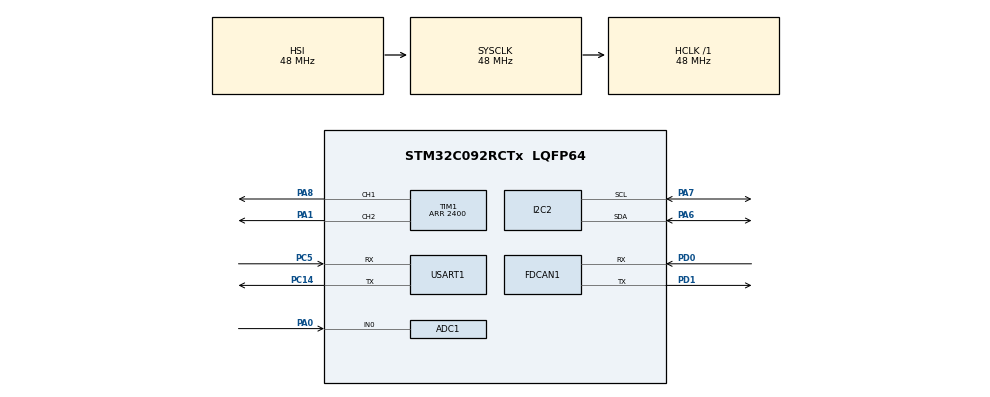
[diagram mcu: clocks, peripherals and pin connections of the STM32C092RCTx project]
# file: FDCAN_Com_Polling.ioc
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ADC1.NbrOfConversionFlag=0
ADC1.SelectedChannel=ADC_CHANNEL_0
ADC1.master=1
FDCAN1.AutoRetransmission=ENABLE
FDCAN1.CalculateBaudRateData=1000000
FDCAN1.CalculateBaudRateNominal=1000000
FDCAN1.CalculateTimeBitNominal=1000
FDCAN1.CalculateTimeQuantumNominal=20.833333333333332
FDCAN1.DataSyncJumpWidth=6
FDCAN1.DataTimeSeg1=17
FDCAN1.DataTimeSeg2=6
FDCAN1.FrameFormat=FDCAN_FRAME_FD_BRS
FDCAN1.NominalPrescaler=1
FDCAN1.NominalSyncJumpWidth=12
FDCAN1.NominalTimeSeg1=35
FDCAN1.NominalTimeSeg2=12
FDCAN1.StdFiltersNbr=1
FDCAN1.TransmitPause=ENABLE
I2C2.Timing=0x10805D88
Mcu.Family=STM32C0
Mcu.Name=STM32C092RCTx
Mcu.Package=LQFP64
NUCLEO-C092RC.BUTTON=2
NUCLEO-C092RC.LD1=true
NUCLEO-C092RC.LD2=true
NUCLEO-C092RC.VCP=true
NVIC.TIM2_IRQn=true\:0\:0\:false\:false\:true\:true\:true\:true
PA0.Mode=IN0
PA0.Signal=ADC1_IN0
PA1.Signal=S_TIM1_CH2
PA6.Mode=I2C
PA6.Signal=I2C2_SDA
PA7.Mode=I2C
PA7.Signal=I2C2_SCL
PA8.Signal=S_TIM1_CH1
PC14-OSCX_IN(PC14).Mode=Asynchronous
PC14-OSCX_IN(PC14).Signal=USART1_TX
PC5.Mode=Asynchronous
PC5.Signal=USART1_RX
PD0.Mode=FDCAN_Activate
PD0.Signal=FDCAN1_RX
PD1.Mode=FDCAN_Activate
PD1.Signal=FDCAN1_TX
ProjectManager.HeapSize=0x200
ProjectManager.StackSize=0x400
ProjectManager.TargetToolchain=STM32CubeIDE
RCC.ADCFreq_Value=48000000
RCC.AHBFreq_Value=48000000
RCC.CortexFreq_Value=48000000
RCC.EXTERNAL_CLOCK_VALUE=12288000
RCC.HCLKFreq_Value=48000000
RCC.HSE_VALUE=8000000
RCC.HSISYSCLKDivider=RCC_HSI_DIV1
RCC.HSI_VALUE=48000000
RCC.LSE_VALUE=32768
RCC.SYSCLKFreq_VALUE=48000000
SH.S_TIM1_CH1.0=TIM1_CH1,PWM Generation1 CH1
SH.S_TIM1_CH2.0=TIM1_CH2,PWM Generation2 CH2
TIM1.Channel-PWM\ Generation1\ CH1=TIM_CHANNEL_1
TIM1.Channel-PWM\ Generation2\ CH2=TIM_CHANNEL_2
TIM1.Period=2400
TIM2.Period=48000
USART1.VirtualMode-Asynchronous=VM_ASYNC
VP_NUCLEO-C092RC_VS_BSP_COMMON.Mode=COMMON
VP_TIM2_VS_ClockSourceINT.Mode=Internal
board=NUCLEO-C092RC

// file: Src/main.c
/* USER CODE BEGIN Header */
/**
  ******************************************************************************
  * @file           : main.c
  * @brief          : Main program body
  ******************************************************************************
  * @attention
  *
  * Copyright (c) 2026 STMicroelectronics.
  * All rights reserved.
  *
  * This software is licensed under terms that can be found in the LICENSE file
  * in the root directory of this software component.
  * If no LICENSE file comes with this software, it is provided AS-IS.
  *
  ******************************************************************************
  */
/* USER CODE END Header */
#include "main.h"

/* USER CODE BEGIN Includes */

#include <stdio.h>
/* USER CODE END Includes */

COM_InitTypeDef BspCOMInit;
ADC_HandleTypeDef hadc1;

FDCAN_HandleTypeDef hfdcan1;

I2C_HandleTypeDef hi2c2;

TIM_HandleTypeDef htim1;
TIM_HandleTypeDef htim2;

UART_HandleTypeDef huart1;

/* USER CODE BEGIN PV */
volatile int adc_value = 0;
volatile float current_ma = 0;
volatile int counter = 0;
volatile int dir = 0;
volatile float i_err = 0;

uint8_t rxData[8];
FDCAN_RxHeaderTypeDef rxHeader;
FDCAN_TxHeaderTypeDef txHeader;

const uint8_t txData[] = {0x10,0x32,0x54,0x76,0x98,0x00,0x11,0x22};

/* USER CODE END PV */

void SystemClock_Config(void);
static void MX_GPIO_Init(void);
static void MX_FDCAN1_Init(void);
static void MX_ADC1_Init(void);
static void MX_I2C2_Init(void);
static void MX_TIM1_Init(void);
static void MX_TIM2_Init(void);
static void MX_USART1_UART_Init(void);
/* USER CODE BEGIN PFP */
uint32_t read_adc(void);
void writeINA219(int reg, int value);
int16_t readINA219(uint8_t reg);
float read_ina219(void);
void init_ina219(void);

/* USER CODE END PFP */

/* USER CODE BEGIN 0 */
//int __io_putchar(int ch)
//{
//	HAL_UART_Transmit(&hcom_uart[COM1], (uint8_t *)&ch, 1, HAL_MAX_DELAY);
//
//    //HAL_UART_Transmit(&huart2, (uint8_t *)&ch, 1, HAL_MAX_DELAY);
//    return ch;
//}

uint32_t read_adc(void)
{
    HAL_ADC_Start(&hadc1);
    HAL_ADC_PollForConversion(&hadc1, 10);
    uint32_t val = HAL_ADC_GetValue(&hadc1);
    HAL_ADC_Stop(&hadc1);
    return val;
}

void writeINA219(int reg, int value)
{
    uint8_t data[3];
    data[0] = reg;
    data[1] = (value >> 8) & 0xFF;
    data[2] = value & 0xFF;
    HAL_I2C_Master_Transmit(&hi2c2, 0x40 << 1, data, 3, 10);
}

int16_t readINA219(uint8_t reg)
{
    uint8_t data[2];
    HAL_I2C_Master_Transmit(&hi2c2, 0x40 << 1, &reg, 1, 10);
    HAL_I2C_Master_Receive(&hi2c2, 0x40 << 1, data, 2, 10);
    return (data[0] << 8) | data[1];
}

float read_ina219(void)
{
    int16_t raw = readINA219(0x04);
    return raw * 0.1f;   // adjust scaling if needed
}

void init_ina219(void)
{
    writeINA219(0x05, 4096);   // calibration
}

/* USER CODE END 0 */

int main(void)
{

  /* MCU Configuration--------------------------------------------------------*/

  /* Reset of all peripherals, Initializes the Flash interface and the Systick. */
  HAL_Init();

  /* Configure the system clock */
  SystemClock_Config();

  /* Initialize all configured peripherals */
  MX_GPIO_Init();
  MX_FDCAN1_Init();
  MX_ADC1_Init();
  MX_I2C2_Init();
  MX_TIM1_Init();
  MX_TIM2_Init();
  MX_USART1_UART_Init();
  /* USER CODE BEGIN 2 */
//  HAL_TIM_Base_Start_IT(&htim2);
//  HAL_TIM_PWM_Start(&htim1, TIM_CHANNEL_1);
//  HAL_TIM_PWM_Start(&htim1, TIM_CHANNEL_2);
//
//  init_ina219();
//
  /* USER CODE END 2 */

  /* Initialize leds */
  BSP_LED_Init(LED_GREEN);
  BSP_LED_Init(LED_BLUE);

  /* Initialize User push-button without interrupt mode. */
  BSP_PB_Init(BUTTON_USER, BUTTON_MODE_GPIO);

  /* Initialize COM1 port (115200, 8 bits (7-bit data + 1 stop bit), no parity */
  BspCOMInit.BaudRate   = 115200;
  BspCOMInit.WordLength = COM_WORDLENGTH_8B;
  BspCOMInit.StopBits   = COM_STOPBITS_1;
  BspCOMInit.Parity     = COM_PARITY_NONE;
  BspCOMInit.HwFlowCtl  = COM_HWCONTROL_NONE;
  if (BSP_COM_Init(COM1, &BspCOMInit) != BSP_ERROR_NONE)
  {
    Error_Handler();
  }

  /* Infinite loop */
  /* USER CODE BEGIN WHILE */
  uint8_t c;
  while (1)
  {
	  if (HAL_UART_Receive(&hcom_uart[COM1], &c, 1, 10) == HAL_OK)
	      {
	          // handle commands here
		  switch(c)
		          {
		              case 'a':   // read ADC
		                  adc_value = read_adc();
		                  printf("ADC: %u\r\n", adc_value);
		                  break;

		              case 'i':   // read INA219 current
		                  current_ma = read_ina219();
		                  printf("INA219: %d mA\r\n", (int)current_ma);
		                  break;

		              case 'p':   // increase PWM
		                  __HAL_TIM_SET_COMPARE(&htim1, TIM_CHANNEL_1,
		                      __HAL_TIM_GET_COMPARE(&htim1, TIM_CHANNEL_1) + 50);
		                  printf("PWM1 increased\r\n");
		                  break;

		              case 'o':   // decrease PWM
		                  __HAL_TIM_SET_COMPARE(&htim1, TIM_CHANNEL_1,
		                      __HAL_TIM_GET_COMPARE(&htim1, TIM_CHANNEL_1) - 50);
		                  printf("PWM1 decreased\r\n");
		                  break;

		              case 'c':   // CAN transmit test
		                  txHeader.Identifier = 0x123;
		                  txHeader.IdType = FDCAN_STANDARD_ID;
		                  txHeader.TxFrameType = FDCAN_DATA_FRAME;
		                  txHeader.DataLength = FDCAN_DLC_BYTES_8;
		                  HAL_FDCAN_AddMessageToTxFifoQ(&hfdcan1, &txHeader, (uint8_t*)txData);
		                  printf("CAN TX\r\n");
		                  break;

		              default:
		                  printf("Unknown cmd: %c\r\n", c);
		                  break;
		          }
	      }
    /* USER CODE END WHILE */

  }
}

void SystemClock_Config(void)
{
  RCC_OscInitTypeDef RCC_OscInitStruct = {0};
  RCC_ClkInitTypeDef RCC_ClkInitStruct = {0};

  __HAL_FLASH_SET_LATENCY(FLASH_LATENCY_1);

  /** Initializes the RCC Oscillators according to the specified parameters
  * in the RCC_OscInitTypeDef structure.
  */
  RCC_OscInitStruct.OscillatorType = RCC_OSCILLATORTYPE_HSI;
  RCC_OscInitStruct.HSIState = RCC_HSI_ON;
  RCC_OscInitStruct.HSIDiv = RCC_HSI_DIV1;
  RCC_OscInitStruct.HSICalibrationValue = RCC_HSICALIBRATION_DEFAULT;
  if (HAL_RCC_OscConfig(&RCC_OscInitStruct) != HAL_OK)
  {
    Error_Handler();
  }

  /** Initializes the CPU, AHB and APB buses clocks
  */
  RCC_ClkInitStruct.ClockType = RCC_CLOCKTYPE_HCLK|RCC_CLOCKTYPE_SYSCLK
                              |RCC_CLOCKTYPE_PCLK1;
  RCC_ClkInitStruct.SYSCLKSource = RCC_SYSCLKSOURCE_HSI;
  RCC_ClkInitStruct.SYSCLKDivider = RCC_SYSCLK_DIV1;
  RCC_ClkInitStruct.AHBCLKDivider = RCC_HCLK_DIV1;
  RCC_ClkInitStruct.APB1CLKDivider = RCC_APB1_DIV1;

  if (HAL_RCC_ClockConfig(&RCC_ClkInitStruct, FLASH_LATENCY_1) != HAL_OK)
  {
    Error_Handler();
  }
}

static void MX_ADC1_Init(void)
{

  ADC_ChannelConfTypeDef sConfig = {0};

  /** Configure the global features of the ADC (Clock, Resolution, Data Alignment and number of conversion)
  */
  hadc1.Instance = ADC1;
  hadc1.Init.ClockPrescaler = ADC_CLOCK_SYNC_PCLK_DIV2;
  hadc1.Init.Resolution = ADC_RESOLUTION_12B;
  hadc1.Init.DataAlign = ADC_DATAALIGN_RIGHT;
  hadc1.Init.ScanConvMode = ADC_SCAN_SEQ_FIXED;
  hadc1.Init.EOCSelection = ADC_EOC_SINGLE_CONV;
  hadc1.Init.LowPowerAutoWait = DISABLE;
  hadc1.Init.LowPowerAutoPowerOff = DISABLE;
  hadc1.Init.ContinuousConvMode = DISABLE;
  hadc1.Init.NbrOfConversion = 1;
  hadc1.Init.DiscontinuousConvMode = DISABLE;
  hadc1.Init.ExternalTrigConv = ADC_SOFTWARE_START;
  hadc1.Init.ExternalTrigConvEdge = ADC_EXTERNALTRIGCONVEDGE_NONE;
  hadc1.Init.DMAContinuousRequests = DISABLE;
  hadc1.Init.Overrun = ADC_OVR_DATA_PRESERVED;
  hadc1.Init.SamplingTimeCommon1 = ADC_SAMPLETIME_1CYCLE_5;
  hadc1.Init.OversamplingMode = DISABLE;
  hadc1.Init.TriggerFrequencyMode = ADC_TRIGGER_FREQ_HIGH;
  if (HAL_ADC_Init(&hadc1) != HAL_OK)
  {
    Error_Handler();
  }

  /** Configure Regular Channel
  */
  sConfig.Channel = ADC_CHANNEL_0;
  sConfig.Rank = ADC_RANK_CHANNEL_NUMBER;
  if (HAL_ADC_ConfigChannel(&hadc1, &sConfig) != HAL_OK)
  {
    Error_Handler();
  }

}

static void MX_FDCAN1_Init(void)
{

  hfdcan1.Instance = FDCAN1;
  hfdcan1.Init.ClockDivider = FDCAN_CLOCK_DIV1;
  hfdcan1.Init.FrameFormat = FDCAN_FRAME_FD_BRS;
  hfdcan1.Init.Mode = FDCAN_MODE_NORMAL;
  hfdcan1.Init.AutoRetransmission = ENABLE;
  hfdcan1.Init.TransmitPause = ENABLE;
  hfdcan1.Init.ProtocolException = DISABLE;
  hfdcan1.Init.NominalPrescaler = 1;
  hfdcan1.Init.NominalSyncJumpWidth = 12;
  hfdcan1.Init.NominalTimeSeg1 = 35;
  hfdcan1.Init.NominalTimeSeg2 = 12;
  hfdcan1.Init.DataPrescaler = 1;
  hfdcan1.Init.DataSyncJumpWidth = 6;
  hfdcan1.Init.DataTimeSeg1 = 17;
  hfdcan1.Init.DataTimeSeg2 = 6;
  hfdcan1.Init.StdFiltersNbr = 1;
  hfdcan1.Init.ExtFiltersNbr = 0;
  hfdcan1.Init.TxFifoQueueMode = FDCAN_TX_FIFO_OPERATION;
  if (HAL_FDCAN_Init(&hfdcan1) != HAL_OK)
  {
    Error_Handler();
  }

}

static void MX_I2C2_Init(void)
{

  hi2c2.Instance = I2C2;
  hi2c2.Init.Timing = 0x10805D88;
  hi2c2.Init.OwnAddress1 = 0;
  hi2c2.Init.AddressingMode = I2C_ADDRESSINGMODE_7BIT;
  hi2c2.Init.DualAddressMode = I2C_DUALADDRESS_DISABLE;
  hi2c2.Init.OwnAddress2 = 0;
  hi2c2.Init.OwnAddress2Masks = I2C_OA2_NOMASK;
  hi2c2.Init.GeneralCallMode = I2C_GENERALCALL_DISABLE;
  hi2c2.Init.NoStretchMode = I2C_NOSTRETCH_DISABLE;
  if (HAL_I2C_Init(&hi2c2) != HAL_OK)
  {
    Error_Handler();
  }

  /** Configure Analogue filter
  */
  if (HAL_I2CEx_ConfigAnalogFilter(&hi2c2, I2C_ANALOGFILTER_ENABLE) != HAL_OK)
  {
    Error_Handler();
  }

  /** Configure Digital filter
  */
  if (HAL_I2CEx_ConfigDigitalFilter(&hi2c2, 0) != HAL_OK)
  {
    Error_Handler();
  }

}

static void MX_TIM1_Init(void)
{

  TIM_MasterConfigTypeDef sMasterConfig = {0};
  TIM_OC_InitTypeDef sConfigOC = {0};
  TIM_BreakDeadTimeConfigTypeDef sBreakDeadTimeConfig = {0};

  htim1.Instance = TIM1;
  htim1.Init.Prescaler = 0;
  htim1.Init.CounterMode = TIM_COUNTERMODE_UP;
  htim1.Init.Period = 2400;
  htim1.Init.ClockDivision = TIM_CLOCKDIVISION_DIV1;
  htim1.Init.RepetitionCounter = 0;
  htim1.Init.AutoReloadPreload = TIM_AUTORELOAD_PRELOAD_DISABLE;
  if (HAL_TIM_PWM_Init(&htim1) != HAL_OK)
  {
    Error_Handler();
  }
  sMasterConfig.MasterOutputTrigger = TIM_TRGO_RESET;
  sMasterConfig.MasterOutputTrigger2 = TIM_TRGO2_RESET;
  sMasterConfig.MasterSlaveMode = TIM_MASTERSLAVEMODE_DISABLE;
  if (HAL_TIMEx_MasterConfigSynchronization(&htim1, &sMasterConfig) != HAL_OK)
  {
    Error_Handler();
  }
  sConfigOC.OCMode = TIM_OCMODE_PWM1;
  sConfigOC.Pulse = 0;
  sConfigOC.OCPolarity = TIM_OCPOLARITY_HIGH;
  sConfigOC.OCNPolarity = TIM_OCNPOLARITY_HIGH;
  sConfigOC.OCFastMode = TIM_OCFAST_DISABLE;
  sConfigOC.OCIdleState = TIM_OCIDLESTATE_RESET;
  sConfigOC.OCNIdleState = TIM_OCNIDLESTATE_RESET;
  if (HAL_TIM_PWM_ConfigChannel(&htim1, &sConfigOC, TIM_CHANNEL_1) != HAL_OK)
  {
    Error_Handler();
  }
  if (HAL_TIM_PWM_ConfigChannel(&htim1, &sConfigOC, TIM_CHANNEL_2) != HAL_OK)
  {
    Error_Handler();
  }
  sBreakDeadTimeConfig.OffStateRunMode = TIM_OSSR_DISABLE;
  sBreakDeadTimeConfig.OffStateIDLEMode = TIM_OSSI_DISABLE;
  sBreakDeadTimeConfig.LockLevel = TIM_LOCKLEVEL_OFF;
  sBreakDeadTimeConfig.DeadTime = 0;
  sBreakDeadTimeConfig.BreakState = TIM_BREAK_DISABLE;
  sBreakDeadTimeConfig.BreakPolarity = TIM_BREAKPOLARITY_HIGH;
  sBreakDeadTimeConfig.BreakFilter = 0;
  sBreakDeadTimeConfig.BreakAFMode = TIM_BREAK_AFMODE_INPUT;
  sBreakDeadTimeConfig.Break2State = TIM_BREAK2_DISABLE;
  sBreakDeadTimeConfig.Break2Polarity = TIM_BREAK2POLARITY_HIGH;
  sBreakDeadTimeConfig.Break2Filter = 0;
  sBreakDeadTimeConfig.Break2AFMode = TIM_BREAK_AFMODE_INPUT;
  sBreakDeadTimeConfig.AutomaticOutput = TIM_AUTOMATICOUTPUT_DISABLE;
  if (HAL_TIMEx_ConfigBreakDeadTime(&htim1, &sBreakDeadTimeConfig) != HAL_OK)
  {
    Error_Handler();
  }
  HAL_TIM_MspPostInit(&htim1);

}

static void MX_TIM2_Init(void)
{

  TIM_ClockConfigTypeDef sClockSourceConfig = {0};
  TIM_MasterConfigTypeDef sMasterConfig = {0};

  htim2.Instance = TIM2;
  htim2.Init.Prescaler = 0;
  htim2.Init.CounterMode = TIM_COUNTERMODE_UP;
  htim2.Init.Period = 48000;
  htim2.Init.ClockDivision = TIM_CLOCKDIVISION_DIV1;
  htim2.Init.AutoReloadPreload = TIM_AUTORELOAD_PRELOAD_DISABLE;
  if (HAL_TIM_Base_Init(&htim2) != HAL_OK)
  {
    Error_Handler();
  }
  sClockSourceConfig.ClockSource = TIM_CLOCKSOURCE_INTERNAL;
  if (HAL_TIM_ConfigClockSource(&htim2, &sClockSourceConfig) != HAL_OK)
  {
    Error_Handler();
  }
  sMasterConfig.MasterOutputTrigger = TIM_TRGO_RESET;
  sMasterConfig.MasterSlaveMode = TIM_MASTERSLAVEMODE_DISABLE;
  if (HAL_TIMEx_MasterConfigSynchronization(&htim2, &sMasterConfig) != HAL_OK)
  {
    Error_Handler();
  }

}

static void MX_USART1_UART_Init(void)
{

  huart1.Instance = USART1;
  huart1.Init.BaudRate = 115200;
  huart1.Init.WordLength = UART_WORDLENGTH_8B;
  huart1.Init.StopBits = UART_STOPBITS_1;
  huart1.Init.Parity = UART_PARITY_NONE;
  huart1.Init.Mode = UART_MODE_TX_RX;
  huart1.Init.HwFlowCtl = UART_HWCONTROL_NONE;
  huart1.Init.OverSampling = UART_OVERSAMPLING_16;
  huart1.Init.OneBitSampling = UART_ONE_BIT_SAMPLE_DISABLE;
  huart1.Init.ClockPrescaler = UART_PRESCALER_DIV1;
  huart1.AdvancedInit.AdvFeatureInit = UART_ADVFEATURE_NO_INIT;
  if (HAL_UART_Init(&huart1) != HAL_OK)
  {
    Error_Handler();
  }
  if (HAL_UARTEx_SetTxFifoThreshold(&huart1, UART_TXFIFO_THRESHOLD_1_8) != HAL_OK)
  {
    Error_Handler();
  }
  if (HAL_UARTEx_SetRxFifoThreshold(&huart1, UART_RXFIFO_THRESHOLD_1_8) != HAL_OK)
  {
    Error_Handler();
  }
  if (HAL_UARTEx_DisableFifoMode(&huart1) != HAL_OK)
  {
    Error_Handler();
  }

}

static void MX_GPIO_Init(void)
{

  /* GPIO Ports Clock Enable */
  __HAL_RCC_GPIOC_CLK_ENABLE();
  __HAL_RCC_GPIOA_CLK_ENABLE();
  __HAL_RCC_GPIOD_CLK_ENABLE();

}

/* USER CODE BEGIN 4 */
void HAL_TIM_PeriodElapsedCallback(TIM_HandleTypeDef *htim)
{
    if(htim->Instance == TIM2)
    {
        adc_value = read_adc();
        current_ma = read_ina219();
        printf("%u %d\r\n", adc_value, (int)current_ma);
    }
}

/* USER CODE END 4 */

void Error_Handler(void)
{
  __disable_irq();
  while (1)
  {
  }
}
